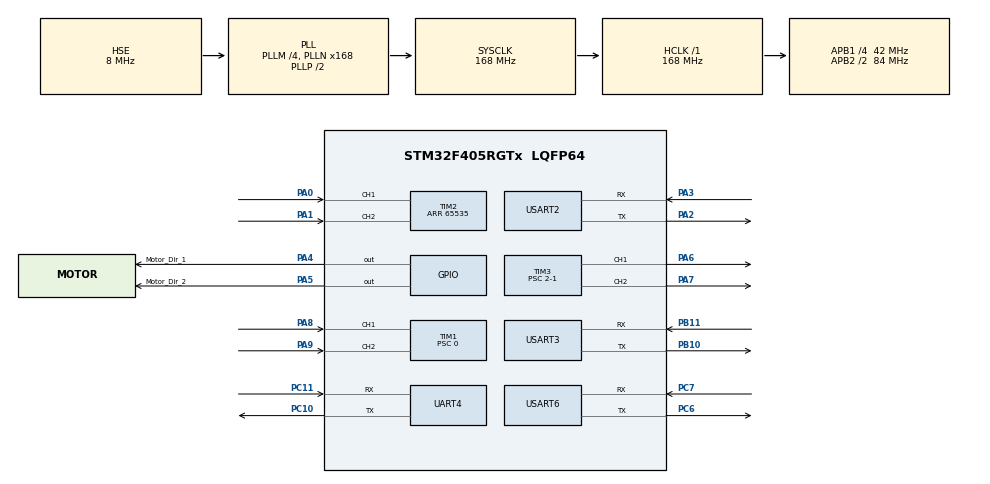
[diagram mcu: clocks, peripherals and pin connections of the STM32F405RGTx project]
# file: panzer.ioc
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Dma.Request0=USART3_RX
Dma.Request1=USART6_TX
Dma.Request2=USART6_RX
Dma.Request3=UART4_RX
Dma.Request4=UART4_TX
Dma.Request5=USART3_TX
Dma.Request6=USART2_RX
Dma.UART4_RX.3.Direction=DMA_PERIPH_TO_MEMORY
Dma.UART4_RX.3.FIFOMode=DMA_FIFOMODE_DISABLE
Dma.UART4_RX.3.Instance=DMA1_Stream2
Dma.UART4_RX.3.MemDataAlignment=DMA_MDATAALIGN_BYTE
Dma.UART4_RX.3.MemInc=DMA_MINC_ENABLE
Dma.UART4_RX.3.Mode=DMA_CIRCULAR
Dma.UART4_RX.3.PeriphDataAlignment=DMA_PDATAALIGN_BYTE
Dma.UART4_RX.3.PeriphInc=DMA_PINC_DISABLE
Dma.UART4_RX.3.Priority=DMA_PRIORITY_LOW
Dma.UART4_TX.4.Direction=DMA_MEMORY_TO_PERIPH
Dma.UART4_TX.4.FIFOMode=DMA_FIFOMODE_DISABLE
Dma.UART4_TX.4.Instance=DMA1_Stream4
Dma.UART4_TX.4.MemDataAlignment=DMA_MDATAALIGN_BYTE
Dma.UART4_TX.4.MemInc=DMA_MINC_ENABLE
Dma.UART4_TX.4.Mode=DMA_NORMAL
Dma.UART4_TX.4.PeriphDataAlignment=DMA_PDATAALIGN_BYTE
Dma.UART4_TX.4.PeriphInc=DMA_PINC_DISABLE
Dma.UART4_TX.4.Priority=DMA_PRIORITY_LOW
Dma.USART3_RX.0.Direction=DMA_PERIPH_TO_MEMORY
Dma.USART3_RX.0.FIFOMode=DMA_FIFOMODE_DISABLE
Dma.USART3_RX.0.Instance=DMA1_Stream1
Dma.USART3_RX.0.MemDataAlignment=DMA_MDATAALIGN_BYTE
Dma.USART3_RX.0.MemInc=DMA_MINC_ENABLE
Dma.USART3_RX.0.Mode=DMA_CIRCULAR
Dma.USART3_RX.0.PeriphDataAlignment=DMA_PDATAALIGN_BYTE
Dma.USART3_RX.0.PeriphInc=DMA_PINC_DISABLE
Dma.USART3_RX.0.Priority=DMA_PRIORITY_LOW
Dma.USART3_TX.5.Direction=DMA_MEMORY_TO_PERIPH
Dma.USART3_TX.5.FIFOMode=DMA_FIFOMODE_DISABLE
Dma.USART3_TX.5.Instance=DMA1_Stream3
Dma.USART3_TX.5.MemDataAlignment=DMA_MDATAALIGN_BYTE
Dma.USART3_TX.5.MemInc=DMA_MINC_ENABLE
Dma.USART3_TX.5.Mode=DMA_NORMAL
Dma.USART3_TX.5.PeriphDataAlignment=DMA_PDATAALIGN_BYTE
Dma.USART3_TX.5.PeriphInc=DMA_PINC_DISABLE
Dma.USART3_TX.5.Priority=DMA_PRIORITY_LOW
Dma.USART2_RX.6.Direction=DMA_PERIPH_TO_MEMORY
Dma.USART2_RX.6.FIFOMode=DMA_FIFOMODE_DISABLE
Dma.USART2_RX.6.Instance=DMA1_Stream5
Dma.USART2_RX.6.MemDataAlignment=DMA_MDATAALIGN_BYTE
Dma.USART2_RX.6.MemInc=DMA_MINC_ENABLE
Dma.USART2_RX.6.Mode=DMA_CIRCULAR
Dma.USART2_RX.6.PeriphDataAlignment=DMA_PDATAALIGN_BYTE
Dma.USART2_RX.6.PeriphInc=DMA_PINC_DISABLE
Dma.USART2_RX.6.Priority=DMA_PRIORITY_LOW
Dma.USART6_RX.2.Direction=DMA_PERIPH_TO_MEMORY
Dma.USART6_RX.2.FIFOMode=DMA_FIFOMODE_DISABLE
Dma.USART6_RX.2.Instance=DMA2_Stream1
Dma.USART6_RX.2.MemDataAlignment=DMA_MDATAALIGN_BYTE
Dma.USART6_RX.2.MemInc=DMA_MINC_ENABLE
Dma.USART6_RX.2.Mode=DMA_CIRCULAR
Dma.USART6_RX.2.PeriphDataAlignment=DMA_PDATAALIGN_BYTE
Dma.USART6_RX.2.PeriphInc=DMA_PINC_DISABLE
Dma.USART6_RX.2.Priority=DMA_PRIORITY_LOW
Dma.USART6_TX.1.Direction=DMA_MEMORY_TO_PERIPH
Dma.USART6_TX.1.FIFOMode=DMA_FIFOMODE_DISABLE
Dma.USART6_TX.1.Instance=DMA2_Stream6
Dma.USART6_TX.1.MemDataAlignment=DMA_MDATAALIGN_BYTE
Dma.USART6_TX.1.MemInc=DMA_MINC_ENABLE
Dma.USART6_TX.1.Mode=DMA_NORMAL
Dma.USART6_TX.1.PeriphDataAlignment=DMA_PDATAALIGN_BYTE
Dma.USART6_TX.1.PeriphInc=DMA_PINC_DISABLE
Dma.USART6_TX.1.Priority=DMA_PRIORITY_LOW
Mcu.Family=STM32F4
Mcu.Name=STM32F405RGTx
Mcu.Package=LQFP64
NVIC.DMA1_Stream1_IRQn=true\:0\:0\:false\:false\:true\:false\:true\:true
NVIC.DMA1_Stream2_IRQn=true\:0\:0\:false\:false\:true\:false\:true\:true
NVIC.DMA1_Stream3_IRQn=true\:0\:0\:false\:false\:true\:false\:true\:true
NVIC.DMA1_Stream4_IRQn=true\:0\:0\:false\:false\:true\:false\:true\:true
NVIC.DMA2_Stream1_IRQn=true\:0\:0\:false\:false\:true\:false\:true\:true
NVIC.DMA2_Stream6_IRQn=true\:0\:0\:false\:false\:true\:false\:true\:true
NVIC.PriorityGroup=NVIC_PRIORITYGROUP_4
NVIC.TIM4_IRQn=true\:1\:0\:true\:false\:true\:true\:true\:true
NVIC.TIM5_IRQn=true\:2\:0\:true\:false\:true\:true\:true\:true
NVIC.UART4_IRQn=true\:0\:0\:true\:false\:true\:true\:true\:true
NVIC.USART2_IRQn=true\:0\:0\:true\:false\:true\:true\:true\:true
NVIC.USART3_IRQn=true\:0\:0\:false\:false\:true\:true\:true\:true
NVIC.USART6_IRQn=true\:0\:0\:true\:false\:true\:true\:true\:true
PA0-WKUP.GPIO_Speed=GPIO_SPEED_FREQ_VERY_HIGH
PA0-WKUP.Signal=S_TIM2_CH1_ETR
PA1.GPIO_Speed=GPIO_SPEED_FREQ_VERY_HIGH
PA1.Signal=S_TIM2_CH2
PA13.Mode=Serial_Wire
PA13.Signal=SYS_JTMS-SWDIO
PA14.Mode=Serial_Wire
PA14.Signal=SYS_JTCK-SWCLK
PA2.Mode=Asynchronous
PA2.Signal=USART2_TX
PA3.Mode=Asynchronous
PA3.Signal=USART2_RX
PA4.GPIO_Label=Motor_Dir_1
PA4.GPIO_PuPd=GPIO_PULLUP
PA4.PinState=GPIO_PIN_SET
PA4.Signal=GPIO_Output
PA5.GPIO_Label=Motor_Dir_2
PA5.GPIO_PuPd=GPIO_PULLUP
PA5.PinState=GPIO_PIN_SET
PA5.Signal=GPIO_Output
PA6.GPIO_Speed=GPIO_SPEED_FREQ_HIGH
PA6.Signal=S_TIM3_CH1
PA7.GPIO_Speed=GPIO_SPEED_FREQ_HIGH
PA7.Signal=S_TIM3_CH2
PA8.GPIO_PuPd=GPIO_PULLUP
PA8.GPIO_Speed=GPIO_SPEED_FREQ_VERY_HIGH
PA8.Signal=S_TIM1_CH1
PA9.GPIO_PuPd=GPIO_PULLUP
PA9.GPIO_Speed=GPIO_SPEED_FREQ_VERY_HIGH
PA9.Signal=S_TIM1_CH2
PB10.Mode=Asynchronous
PB10.Signal=USART3_TX
PB11.Mode=Asynchronous
PB11.Signal=USART3_RX
PC10.Mode=Asynchronous
PC10.Signal=UART4_TX
PC11.Mode=Asynchronous
PC11.Signal=UART4_RX
PC6.Mode=Asynchronous
PC6.Signal=USART6_TX
PC7.Mode=Asynchronous
PC7.Signal=USART6_RX
PH0-OSC_IN.Mode=HSE-External-Oscillator
PH0-OSC_IN.Signal=RCC_OSC_IN
PH1-OSC_OUT.Mode=HSE-External-Oscillator
PH1-OSC_OUT.Signal=RCC_OSC_OUT
ProjectManager.HeapSize=0x200
ProjectManager.StackSize=0x400
ProjectManager.TargetToolchain=MDK-ARM V5.32
RCC.48MHZClocksFreq_Value=84000000
RCC.AHBFreq_Value=168000000
RCC.APB1CLKDivider=RCC_HCLK_DIV4
RCC.APB1Freq_Value=42000000
RCC.APB1TimFreq_Value=84000000
RCC.APB2CLKDivider=RCC_HCLK_DIV2
RCC.APB2Freq_Value=84000000
RCC.APB2TimFreq_Value=168000000
RCC.CortexFreq_Value=168000000
RCC.HCLKFreq_Value=168000000
RCC.HSE_VALUE=8000000
RCC.HSI_VALUE=16000000
RCC.LSE_VALUE=32768
RCC.PLLM=4
RCC.PLLN=168
RCC.PLLSourceVirtual=RCC_PLLSOURCE_HSE
RCC.SYSCLKFreq_VALUE=168000000
RCC.SYSCLKSource=RCC_SYSCLKSOURCE_PLLCLK
RCC.VCOOutputFreq_Value=336000000
SH.S_TIM1_CH1.0=TIM1_CH1,Encoder_Interface
SH.S_TIM1_CH2.0=TIM1_CH2,Encoder_Interface
SH.S_TIM2_CH1_ETR.0=TIM2_CH1,Encoder_Interface
SH.S_TIM2_CH2.0=TIM2_CH2,Encoder_Interface
SH.S_TIM3_CH1.0=TIM3_CH1,PWM Generation1 CH1
SH.S_TIM3_CH2.0=TIM3_CH2,PWM Generation2 CH2
TIM1.AutoReloadPreload=TIM_AUTORELOAD_PRELOAD_ENABLE
TIM1.EncoderMode=TIM_ENCODERMODE_TI12
TIM1.Prescaler=0
TIM2.AutoReloadPreload=TIM_AUTORELOAD_PRELOAD_ENABLE
TIM2.EncoderMode=TIM_ENCODERMODE_TI12
TIM2.Period=65535
TIM3.AutoReloadPreload=TIM_AUTORELOAD_PRELOAD_ENABLE
TIM3.Channel-PWM\ Generation1\ CH1=TIM_CHANNEL_1
TIM3.Channel-PWM\ Generation2\ CH2=TIM_CHANNEL_2
TIM3.OCMode_PWM-PWM\ Generation1\ CH1=TIM_OCMODE_PWM2
TIM3.OCMode_PWM-PWM\ Generation2\ CH2=TIM_OCMODE_PWM2
TIM3.Period=1680-1
TIM3.Prescaler=2-1
TIM3.Pulse-PWM\ Generation1\ CH1=0
TIM3.Pulse-PWM\ Generation2\ CH2=0
TIM4.AutoReloadPreload=TIM_AUTORELOAD_PRELOAD_ENABLE
TIM4.Period=400-1
TIM4.Prescaler=840-1
TIM5.AutoReloadPreload=TIM_AUTORELOAD_PRELOAD_ENABLE
TIM5.Period=10000-1
TIM5.Prescaler=840-1
UART4.VirtualMode=Asynchronous
USART2.VirtualMode=VM_ASYNC
USART3.VirtualMode=VM_ASYNC
USART6.VirtualMode=VM_ASYNC
VP_TIM3_VS_ClockSourceINT.Mode=Internal
VP_TIM4_VS_ClockSourceINT.Mode=Internal
VP_TIM5_VS_ClockSourceINT.Mode=Internal
board=custom

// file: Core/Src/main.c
/* USER CODE BEGIN Header */
/**
  ******************************************************************************
  * @file           : main.c
  * @brief          : Main program body
  ******************************************************************************
  * @attention
  *
  * Copyright (c) 2025 STMicroelectronics.
  * All rights reserved.
  *
  * This software is licensed under terms that can be found in the LICENSE file
  * in the root directory of this software component.
  * If no LICENSE file comes with this software, it is provided AS-IS.
  *
  ******************************************************************************
  */
/* USER CODE END Header */
#include "main.h"
#include "dma.h"
#include "tim.h"
#include "usart.h"
#include "gpio.h"

/* USER CODE BEGIN Includes */
#include "Encode.h"
#include "interurp.h"
#include "hwt101.h"      /* HWT101 驱动: Init/ZeroYaw(上电阻塞调用) */
#include "selftest.h"
#include "stdint.h"

/* USER CODE END Includes */

void SystemClock_Config(void);

int main(void)
{

  /* MCU Configuration--------------------------------------------------------*/

  /* Reset of all peripherals, Initializes the Flash interface and the Systick. */
  HAL_Init();

  /* Configure the system clock */
  SystemClock_Config();

  /* Initialize all configured peripherals */
  MX_GPIO_Init();
  MX_DMA_Init();
  MX_TIM1_Init();
  MX_TIM2_Init();
  MX_TIM3_Init();
  MX_TIM4_Init();
  MX_USART2_UART_Init();
  MX_USART3_UART_Init();
  MX_UART4_Init();
  MX_USART6_UART_Init();
  MX_TIM5_Init();
  /* USER CODE BEGIN 2 */

  UART_Task_Init();
  {
    extern void Fault_Boot_Report(void);   /* stm32f4xx_it.c: 读 RTC 复位源 + 上次 HardFault 现场 */
    Fault_Boot_Report();
  }

	Motor_Init();
	/* 先等 HWT101 出流再配置: 它上电 ~200ms 内一帧不发, 采早了会把启动期低读成速率,
	 * 而那个读数正是"要不要写模块 Flash"的判据(hwt101.c 的 Hwt101_MeasureYawHz) */
  HAL_Delay(500);
  /* HWT101 全部初始化收进驱动库(GetData/hwt101.c): 测 0x53 帧率, 未达标才写 RRATE 0x0B(本机实出 250Hz, 旧码两步合并为一次)。
   * 本函数含 HAL_Delay, 阻塞 ~500ms(已达标) ~1.3s(要写 RRATE 时), 只能在这里调 —— 中断内调会堵控制拍。 */
  Hwt101_Init();
#if HWT101_CFG_ZEROWAW_EN
  /* CALIYAW 归零: 阻塞约 1.2s(解锁→写→保存三步 + 官方要求的延时)。
   * 默认 HWT101_CFG_ZEROWAY_EN=0 **不做**: 单基准航向架构(MF_HEADING_FRAME_EN=1)下
   * GYRO_ZERO 走 Car_GetYawDeg() 取实测航向钉基准, 物理归零只影响"读数是否从 0 起",
   * 不影响基准正确性。它与 GYROBAIS(0x4C 陀螺零偏)是两个独立寄存器, 做了也不破坏零偏,
   * 但那 1.2s 纯是上电开销 ⇒ 需要"看数从 0 起"时置 1 即可。 */
  Hwt101_ZeroYaw();
#endif
#if HWT101_CFG_MANUALCALI_EN
  /* 上电手动零偏采集: 关自动校准(0xA7=1) → 进零偏(0xA6=1) → 静置
   * HWT101_CFG_CALIB_SECONDS(默认10s) → 退零偏(0xA6=4) → 回读 0x4C。
   * 两条命令官方标注免解锁免保存、不写 Flash。**必须在电机使能和任何运动之前**:
   * 此刻 Motor_Init() 已调但未使能驱动、且下面转台 BootZero/看门狗都还没到, 车物理静止,
   * 正是官方"机器人静止后进、运动前退"的推荐窗口。耗时 = 10s, 取代原先的 2s 裸静置
   * (净增约 8s; 看门狗在其后才启动, 不受影响)。
   * 零偏结果由回读层落 reg 槽, 调试口敲 i 看 IMU: 行的 BIAS 字段核对。 */
  (void)Hwt101_BootCalib(HWT101_CFG_CALIB_SECONDS);
  {
    /* 上电一次性快照这轮校准算出的账面零偏(全工程唯一 printf 出口在 car_obs.c;
     * Fault_Boot_Report 同款"上电先例"外调) */
    extern void Car_ImuBootCalib_Log(void);
    Car_ImuBootCalib_Log();
  }
#else
	HAL_Delay(2000);
#endif
	{
		/* 转台上电零点对齐: 把驱动器"当前位置"清零(电机不动)并把 MCU 记账角对齐到同一
		 * 物理姿态 —— 修"一条命令转好几圈"(绝对定位 + 从不回零, MCU 与驱动器零点脱节)。
		 * 必须在 htim5 启动前调用: TIM5 一起就开始周期下发绝对位置了。
		 * 放在静置之后, 等张大头驱动器上电自检完成。 */
		extern void Car_Turntable_BootZero(void);   /* Control_Car.c */
		Car_Turntable_BootZero();
	}
	HAL_TIM_Base_Start_IT(&GAP_TIM);
	HAL_TIM_Base_Start_IT(&htim5);

  /* 独立看门狗: LSI 32kHz/64 分频/重载 99 ≈ 198ms; Car_Control(TIM4 10ms) 末尾喂狗。
   * 控制环停摆(HardFault/跑飞/时钟失效)即复位, 防故障态履带保持最后占空比失控;
   * **必须放在所有上电阻塞(Hwt101_BootCalib 的 10s 静置 / 原 2s)之后**启动, 否则
   * HAL_Delay 期间没人喂狗会被复位。调试器挂起时冻结不喂狗复位。
   * 直接寄存器操作(HAL IWDG 模块未启用): prescaler=4×2^PR, PR=4 → /64 */
  DBGMCU->APB1FZ |= DBGMCU_APB1_FZ_DBG_IWDG_STOP;
  IWDG->KR = 0xCCCCU;                                   /* 启动 */
  IWDG->KR = 0x5555U;                                   /* 解除 PR/RLR 写保护 */
  IWDG->PR = 0x4U;
  while ((IWDG->SR & IWDG_SR_PVU) != 0U) { }            /* 等分频生效 */
  IWDG->RLR = 99U;
  while ((IWDG->SR & IWDG_SR_RVU) != 0U) { }            /* 等重载值生效 */
  IWDG->KR = 0xAAAAU;                                   /* 首喂 */

  /* 上电自跑全程路线(不接 Brain): 总闸 car_config.h 的 SELFTEST_EN */
  SELFTEST_BOOT_START();

  /* USER CODE END 2 */

  /* Infinite loop */
  /* USER CODE BEGIN WHILE */
  while (1)
  {
		Car_DebugTask();                     /* USART2 调试口: 事件回显 + '?' 查询(唯一 printf 点) */

    /* USER CODE END WHILE */

  }
}

void SystemClock_Config(void)
{
  RCC_OscInitTypeDef RCC_OscInitStruct = {0};
  RCC_ClkInitTypeDef RCC_ClkInitStruct = {0};

  /** Configure the main internal regulator output voltage
  */
  __HAL_RCC_PWR_CLK_ENABLE();
  __HAL_PWR_VOLTAGESCALING_CONFIG(PWR_REGULATOR_VOLTAGE_SCALE1);

  /** Initializes the RCC Oscillators according to the specified parameters
  * in the RCC_OscInitTypeDef structure.
  */
  RCC_OscInitStruct.OscillatorType = RCC_OSCILLATORTYPE_HSE;
  RCC_OscInitStruct.HSEState = RCC_HSE_ON;
  RCC_OscInitStruct.PLL.PLLState = RCC_PLL_ON;
  RCC_OscInitStruct.PLL.PLLSource = RCC_PLLSOURCE_HSE;
  RCC_OscInitStruct.PLL.PLLM = 4;
  RCC_OscInitStruct.PLL.PLLN = 168;
  RCC_OscInitStruct.PLL.PLLP = RCC_PLLP_DIV2;
  RCC_OscInitStruct.PLL.PLLQ = 4;
  if (HAL_RCC_OscConfig(&RCC_OscInitStruct) != HAL_OK)
  {
    Error_Handler();
  }

  /** Initializes the CPU, AHB and APB buses clocks
  */
  RCC_ClkInitStruct.ClockType = RCC_CLOCKTYPE_HCLK|RCC_CLOCKTYPE_SYSCLK
                              |RCC_CLOCKTYPE_PCLK1|RCC_CLOCKTYPE_PCLK2;
  RCC_ClkInitStruct.SYSCLKSource = RCC_SYSCLKSOURCE_PLLCLK;
  RCC_ClkInitStruct.AHBCLKDivider = RCC_SYSCLK_DIV1;
  RCC_ClkInitStruct.APB1CLKDivider = RCC_HCLK_DIV4;
  RCC_ClkInitStruct.APB2CLKDivider = RCC_HCLK_DIV2;

  if (HAL_RCC_ClockConfig(&RCC_ClkInitStruct, FLASH_LATENCY_5) != HAL_OK)
  {
    Error_Handler();
  }
}

void Error_Handler(void)
{
  __disable_irq();
  while (1)
  {
  }
}
